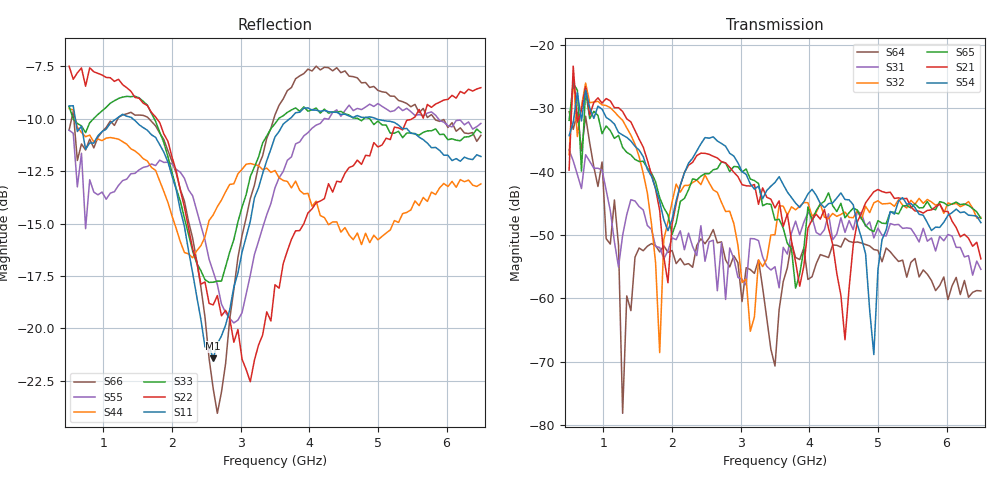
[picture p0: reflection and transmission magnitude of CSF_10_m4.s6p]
!Keysight Technologies,M9804A,MY58100912,A.14.10.03
!Date: Thursday, April 27, 2023 10:28:33
!Correction: S11(C  6-Port  )
!S12(C  6-Port  )
!S13(C  6-Port  )
!S14(C  6-Port  )
!S15(C  6-Port  )
!S16(C  6-Port  )
!S21(C  6-Port  )
!S22(C  6-Port  )
!S23(C  6-Port  )
!S24(C  6-Port  )
!S25(C  6-Port  )
!S26(C  6-Port  )
!S31(C  6-Port  )
!S32(C  6-Port  )
!S33(C  6-Port  )
!S34(C  6-Port  )
!S35(C  6-Port  )
!S36(C  6-Port  )
!S41(C  6-Port  )
!S42(C  6-Port  )
!S43(C  6-Port  )
!S44(C  6-Port  )
!S45(C  6-Port  )
!S46(C  6-Port  )
!S51(C  6-Port  )
!S52(C  6-Port  )
!S53(C  6-Port  )
!S54(C  6-Port  )
!S55(C  6-Port  )
!S56(C  6-Port  )
!S61(C  6-Port  )
!S62(C  6-Port  )
!S63(C  6-Port  )
!S64(C  6-Port  )
!S65(C  6-Port  )
!S66(C  6-Port  )
!S6P File: Measurement: :
# Hz S  RI  R 50
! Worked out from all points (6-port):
!   101 points, 500 MHz to 6.5 GHz, reference 50 ohm
!   strongest paths, dB at 500 MHz, 2 GHz, 3.5 GHz, 5 GHz, 6.5 GHz:
!     S54: -34.3, -47.5, -41.7, -55.5, -48.0
!     S21: -39.7, -48.3, -45.7, -42.8, -53.8
!     S65: -31.9, -49.9, -47.6, -47.7, -47.4
!     S32: -37.3, -44.8, -49.9, -44.6, -47.2
!     S31: -36.6, -50.4, -55.0, -48.9, -55.4
!     S64: -30.5, -52.4, -70.7, -52.4, -58.8
!   lowest |S11| = -21.4 dB at 2.6 GHz (marker M1), VSWR 1.19, Z = 42.5 + j2.21 ohm
!   |S11| at or under -10 dB: 590.3 MHz to 1.187 GHz (596.7 MHz wide, 67.1 % of centre); 1.428 GHz to 3.714 GHz (2.286 GHz wide, 88.9 % of centre); 4.974 GHz to end of sweep
